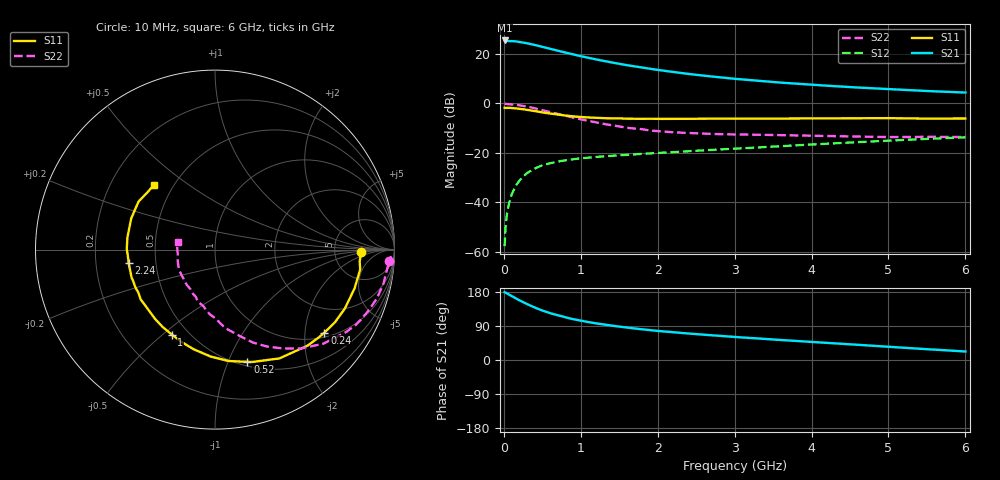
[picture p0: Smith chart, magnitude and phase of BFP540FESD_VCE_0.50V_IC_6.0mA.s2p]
! Infineon Technologies  Discrete & RF Semiconductors
! BFP540FESD
! VCE = 0.50 V,  IC =  6.0 mA
! Common Emitter S-Parameters:  Nov 2015
# GHz  S  MA  R  50
!  f  S11  S21  S12  S22
! GHz  MAG  ANG  MAG  ANG  MAG  ANG  MAG  ANG
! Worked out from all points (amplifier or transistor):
!   210 points, 10 MHz to 6 GHz, reference 50 ohm
!   highest |S21| = 25.4 dB at 10 MHz (marker M1)
!   |S21| within 3 dB of that: start of sweep to 555 MHz
!   unconditionally stable (mu >= 1): 2.536 GHz to end of sweep
!   at 185 MHz: K = 0.10, MSG = 28.4 dB, |S12| = -31.9 dB
!   at 1.52 GHz: K = 0.71, MSG = 18.4 dB, |S12| = -21.0 dB
!   at 6 GHz: K = 1.25, MAG = 6.0 dB, |S12| = -13.7 dB
!   S11 on the Smith chart (normalised r, x): 10 MHz: 9.76, -0.75; 240 MHz: 1.13, -2.52; 520 MHz: 0.54, -1.18; 1 GHz: 0.41, -0.54; 2.24 GHz: 0.35, -0.07; 6 GHz: 0.39, +0.37
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0.01  0.8152 -0.9  18.71 178.7  0.0013 88.3  0.9719 -3.9
0.02  0.8087 -4.6  18.27 178.0  0.0028 89.4  0.9804 -2.4
0.05  0.8165 -7.8  18.3 174.7  0.007 84.6  0.9671 -5.6
0.15  0.7946 -24.4  17.98 163.4  0.0208 78.4  0.9425 -16.7
0.2  0.7815 -31.2  17.46 157.7  0.0272 74.5  0.9186 -22.1
0.24  0.7652 -37.2  17.06 153.7  0.032 72.0  0.899 -26.2
0.3  0.7434 -46.0  16.44 147.6  0.0389 67.1  0.8641 -32.0
0.4  0.7045 -59.4  15.2 138.5  0.048 61.1  0.8001 -40.9
0.52  0.6506 -73.9  13.71 129.2  0.0571 55.5  0.7175 -50.1
0.6  0.6257 -82.9  12.7 123.6  0.0615 52.3  0.6673 -55.6
0.8  0.5678 -102.1  10.66 112.4  0.0708 46.3  0.56 -67.7
1  0.5313 -117.0  9.011 103.8  0.0776 42.9  0.4758 -77.0
1.02  0.5284 -118.4  8.874 103.1  0.0781 42.6  0.4691 -77.9
1.2  0.5107 -130.7  7.723 96.6  0.0825 40.6  0.412 -85.9
1.4  0.4975 -141.2  6.738 90.7  0.0871 38.7  0.3625 -94.4
1.7  0.4908 -154.9  5.596 83.1  0.0935 37.3  0.3096 -106.2
2.02  0.4864 -166.1  4.706 76.4  0.0997 37.0  0.2748 -116.7
2.24  0.4867 -171.3  4.236 72.6  0.1046 36.6  0.2586 -122.7
3.1  0.4921 170.9  3.049 59.4  0.1237 35.7  0.2346 -142.6
4.1  0.4977 158.3  2.329 46.4  0.1504 33.6  0.2206 -159.0
5.1  0.5004 146.3  1.912 33.6  0.1796 28.6  0.2088 -175.5
6  0.4955 133.7  1.656 22.4  0.2065 23.2  0.2094 167.8
